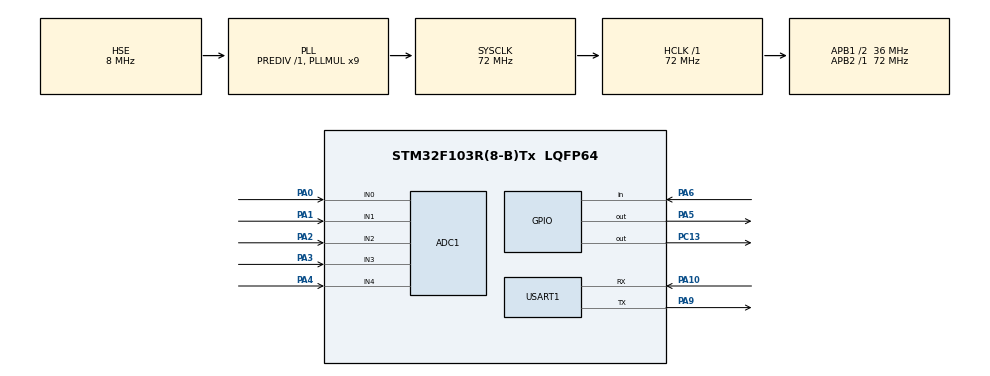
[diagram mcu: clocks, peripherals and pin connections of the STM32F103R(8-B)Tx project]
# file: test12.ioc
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ADC1.AWD1HighThreshold=1240
ADC1.AWD1ITMode=ENABLE
ADC1.Channel-0\#ChannelRegularConversion=ADC_CHANNEL_4
ADC1.ContinuousConvMode=ENABLE
ADC1.EnableAnalogWatchDog=true
ADC1.NbrOfConversion=1
ADC1.NbrOfConversionFlag=1
ADC1.Rank-0\#ChannelRegularConversion=1
ADC1.SamplingTime-0\#ChannelRegularConversion=ADC_SAMPLETIME_41CYCLES_5
ADC1.WatchdogChannel=ADC_CHANNEL_4
ADC1.master=1
Dma.ADC1.0.Direction=DMA_PERIPH_TO_MEMORY
Dma.ADC1.0.Instance=DMA1_Channel1
Dma.ADC1.0.MemDataAlignment=DMA_MDATAALIGN_HALFWORD
Dma.ADC1.0.MemInc=DMA_MINC_ENABLE
Dma.ADC1.0.Mode=DMA_CIRCULAR
Dma.ADC1.0.PeriphDataAlignment=DMA_PDATAALIGN_HALFWORD
Dma.ADC1.0.PeriphInc=DMA_PINC_DISABLE
Dma.ADC1.0.Priority=DMA_PRIORITY_HIGH
Dma.Request0=ADC1
Dma.Request1=USART1_TX
Dma.USART1_TX.1.Direction=DMA_MEMORY_TO_PERIPH
Dma.USART1_TX.1.Instance=DMA1_Channel4
Dma.USART1_TX.1.MemDataAlignment=DMA_MDATAALIGN_BYTE
Dma.USART1_TX.1.MemInc=DMA_MINC_ENABLE
Dma.USART1_TX.1.Mode=DMA_NORMAL
Dma.USART1_TX.1.PeriphDataAlignment=DMA_PDATAALIGN_BYTE
Dma.USART1_TX.1.PeriphInc=DMA_PINC_DISABLE
Dma.USART1_TX.1.Priority=DMA_PRIORITY_MEDIUM
Mcu.Family=STM32F1
Mcu.Name=STM32F103R(8-B)Tx
Mcu.Package=LQFP64
NVIC.ADC1_2_IRQn=true\:0\:0\:false\:false\:true\:true\:true
NVIC.DMA1_Channel1_IRQn=true\:0\:0\:false\:false\:true\:false\:true
NVIC.DMA1_Channel4_IRQn=true\:0\:0\:false\:false\:true\:false\:true
NVIC.PriorityGroup=NVIC_PRIORITYGROUP_4
NVIC.USART1_IRQn=true\:0\:0\:false\:false\:true\:true\:true
PA0-WKUP.Signal=ADCx_IN0
PA1.Signal=ADCx_IN1
PA10.Mode=Asynchronous
PA10.Signal=USART1_RX
PA13.Mode=Serial_Wire
PA13.Signal=SYS_JTMS-SWDIO
PA14.Mode=Serial_Wire
PA14.Signal=SYS_JTCK-SWCLK
PA2.Signal=ADCx_IN2
PA3.Signal=ADCx_IN3
PA4.Signal=ADCx_IN4
PA5.GPIO_ModeDefaultOutputPP=GPIO_MODE_OUTPUT_OD
PA5.Signal=GPIO_Output
PA6.Signal=GPIO_Input
PA9.Mode=Asynchronous
PA9.Signal=USART1_TX
PC13-TAMPER-RTC.GPIO_ModeDefaultOutputPP=GPIO_MODE_OUTPUT_OD
PC13-TAMPER-RTC.Signal=GPIO_Output
PD0-OSC_IN.Mode=HSE-External-Oscillator
PD0-OSC_IN.Signal=RCC_OSC_IN
PD1-OSC_OUT.Mode=HSE-External-Oscillator
PD1-OSC_OUT.Signal=RCC_OSC_OUT
ProjectManager.HeapSize=0x200
ProjectManager.StackSize=0x400
ProjectManager.TargetToolchain=STM32CubeIDE
RCC.ADCPresc=RCC_ADCPCLK2_DIV6
RCC.AHBFreq_Value=72000000
RCC.APB1CLKDivider=RCC_HCLK_DIV2
RCC.APB1Freq_Value=36000000
RCC.APB1TimFreq_Value=72000000
RCC.APB2Freq_Value=72000000
RCC.APB2TimFreq_Value=72000000
RCC.HCLKFreq_Value=72000000
RCC.PLLMUL=RCC_PLL_MUL9
RCC.PLLSourceVirtual=RCC_PLLSOURCE_HSE
RCC.SYSCLKFreq_VALUE=72000000
RCC.SYSCLKSource=RCC_SYSCLKSOURCE_PLLCLK
RCC.USBFreq_Value=72000000
SH.ADCx_IN0.0=ADC1_IN0,IN0
SH.ADCx_IN1.0=ADC1_IN1,IN1
SH.ADCx_IN2.0=ADC1_IN2,IN2
SH.ADCx_IN3.0=ADC1_IN3,IN3
SH.ADCx_IN4.0=ADC1_IN4,IN4
USART1.VirtualMode=VM_ASYNC
board=custom

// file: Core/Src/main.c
/* USER CODE BEGIN Header */
/**
  ******************************************************************************
  * @file           : main.c
  * @brief          : Main program body
  ******************************************************************************
  * @attention
  *
  * <h2><center>&copy; Copyright (c) 2023 STMicroelectronics.
  * All rights reserved.</center></h2>
  *
  * This software component is licensed by ST under BSD 3-Clause license,
  * the "License"; You may not use this file except in compliance with the
  * License. You may obtain a copy of the License at:
  *                        opensource.org/licenses/BSD-3-Clause
  *
  ******************************************************************************
  */
/* USER CODE END Header */
#include "main.h"

ADC_HandleTypeDef hadc1;
DMA_HandleTypeDef hdma_adc1;

UART_HandleTypeDef huart1;
DMA_HandleTypeDef hdma_usart1_rx;
DMA_HandleTypeDef hdma_usart1_tx;

/* USER CODE BEGIN PV */
uint16_t mode_cnt = 100;
uint16_t SW_cnt = 0;
uint8_t  uartCmdRx = 0;
uint8_t  uartDataRx = 0;

uint8_t status = 0;
uint8_t data_ready = 0;

ADC_inputsTypeDef adc_struct;
USART_TXTypeDef   usart_struct = {"U1 =0.00\n","U2 =0.00\n","U3 =0.00\n","U4 =0.00\n","IC =00.00\n","SW =0E0\n"};
ADC_ChannelConfTypeDef sConfig = {0, ADC_REGULAR_RANK_1, ADC_SAMPLETIME_41CYCLES_5};

uint8_t uartRXData[UART_RX_DATA_LENGTH];

/* USER CODE END PV */

void SystemClock_Config(void);
static void MX_GPIO_Init(void);
static void MX_DMA_Init(void);
static void MX_ADC1_Init(void);
static void MX_USART1_UART_Init(void);

int main(void)
{

  /* MCU Configuration--------------------------------------------------------*/

  /* Reset of all peripherals, Initializes the Flash interface and the Systick. */
  HAL_Init();

  /* Configure the system clock */
  SystemClock_Config();

  /* USER CODE BEGIN SysInit */
  SysTick_Config(SystemCoreClock/100);//10ms

  /* USER CODE END SysInit */

  /* Initialize all configured peripherals */
  MX_GPIO_Init();
  MX_DMA_Init();
  MX_ADC1_Init();
  MX_USART1_UART_Init();
  /* USER CODE BEGIN 2 */
  NVIC_EnableIRQ(USART1_IRQn);
  /* USER CODE END 2 */

  /* Infinite loop */
  /* USER CODE BEGIN WHILE */
  HAL_UART_Receive_DMA(&huart1,(uint8_t*) uartRXData, UART_RX_DATA_LENGTH);
  HAL_ADC_Start_DMA(&hadc1, (uint32_t*)adc_struct.adcData, ADC_DATA_LENGTH);

  while (1)
  {

      if(status == SC)// короткое замыкание (I>10A)
      {
    	  if(SW_cnt == 0)// прошло 10 сек
    	  {
    		  status = OK;
    		  HAL_GPIO_WritePin(SWITCH_RESET);//подключение нагрузки
 //   		  HAL_GPIO_WritePin(TEST_RESET);
    		  sConfig.Channel = 4;
    		  HAL_ADC_ConfigChannel(&hadc1, &sConfig); // смена канала АЦП на тот, что измеряет ток
    		  HAL_ADC_Start_DMA(&hadc1, (uint32_t*)adc_struct.adcData, ADC_DATA_LENGTH);
    		  while (HAL_DMA_GetState(&hdma_adc1) != HAL_DMA_STATE_READY);
    		  ADC_Struct_update (&hadc1, &sConfig, &adc_struct);
    	  }
      }

	  if (mode_cnt == 0)
	  {

		  mode_cnt = 10;//  10 = 100 мс

		  ADC_Struct_update (&hadc1, &sConfig, &adc_struct); // обновление данных по измерениям на 1 канал с послед. переключением
		  if(uartDataRx) // переполнение цикл буфера
		  {
			  uartDataRx = RESET;
			  HAL_UART_Receive_DMA(&huart1,(uint8_t*) uartRXData, UART_RX_DATA_LENGTH);
		  }

			  if (Usart_Rx_cmd_data (uartRXData,"TEST"))
			  uartCmdRx = SET; // получена команда TEST

		}

		  if(uartCmdRx && data_ready)
		  {
			  uartCmdRx = RESET;
			  Usart_Tx_data (&huart1, &adc_struct, &usart_struct);// отправит данные измерений по USART
			  data_ready = 0;
		  }

	   }

    /* USER CODE END WHILE */
   }

void SystemClock_Config(void)
{
  RCC_OscInitTypeDef RCC_OscInitStruct = {0};
  RCC_ClkInitTypeDef RCC_ClkInitStruct = {0};
  RCC_PeriphCLKInitTypeDef PeriphClkInit = {0};

  /** Initializes the RCC Oscillators according to the specified parameters
  * in the RCC_OscInitTypeDef structure.
  */
  RCC_OscInitStruct.OscillatorType = RCC_OSCILLATORTYPE_HSE;
  RCC_OscInitStruct.HSEState = RCC_HSE_ON;
  RCC_OscInitStruct.HSEPredivValue = RCC_HSE_PREDIV_DIV1;
  RCC_OscInitStruct.HSIState = RCC_HSI_ON;
  RCC_OscInitStruct.PLL.PLLState = RCC_PLL_ON;
  RCC_OscInitStruct.PLL.PLLSource = RCC_PLLSOURCE_HSE;
  RCC_OscInitStruct.PLL.PLLMUL = RCC_PLL_MUL9;
  if (HAL_RCC_OscConfig(&RCC_OscInitStruct) != HAL_OK)
  {
    Error_Handler();
  }
  /** Initializes the CPU, AHB and APB buses clocks
  */
  RCC_ClkInitStruct.ClockType = RCC_CLOCKTYPE_HCLK|RCC_CLOCKTYPE_SYSCLK
                              |RCC_CLOCKTYPE_PCLK1|RCC_CLOCKTYPE_PCLK2;
  RCC_ClkInitStruct.SYSCLKSource = RCC_SYSCLKSOURCE_PLLCLK;
  RCC_ClkInitStruct.AHBCLKDivider = RCC_SYSCLK_DIV1;
  RCC_ClkInitStruct.APB1CLKDivider = RCC_HCLK_DIV2;
  RCC_ClkInitStruct.APB2CLKDivider = RCC_HCLK_DIV1;

  if (HAL_RCC_ClockConfig(&RCC_ClkInitStruct, FLASH_LATENCY_2) != HAL_OK)
  {
    Error_Handler();
  }
  PeriphClkInit.PeriphClockSelection = RCC_PERIPHCLK_ADC;
  PeriphClkInit.AdcClockSelection = RCC_ADCPCLK2_DIV6;
  if (HAL_RCCEx_PeriphCLKConfig(&PeriphClkInit) != HAL_OK)
  {
    Error_Handler();
  }
}

static void MX_ADC1_Init(void)
{

  ADC_ChannelConfTypeDef sConfig = {0};

  /** Common config
  */
  hadc1.Instance = ADC1;
  hadc1.Init.ScanConvMode = ADC_SCAN_DISABLE;
  hadc1.Init.ContinuousConvMode = ENABLE;
  hadc1.Init.DiscontinuousConvMode = DISABLE;
  hadc1.Init.ExternalTrigConv = ADC_SOFTWARE_START;
  hadc1.Init.DataAlign = ADC_DATAALIGN_RIGHT;
  hadc1.Init.NbrOfConversion = 1;
  if (HAL_ADC_Init(&hadc1) != HAL_OK)
  {
    Error_Handler();
  }
  /** Configure Regular Channel
  */
  sConfig.Channel = ADC_CHANNEL_0;
  sConfig.Rank = ADC_REGULAR_RANK_1;
  sConfig.SamplingTime = ADC_SAMPLETIME_41CYCLES_5;
  if (HAL_ADC_ConfigChannel(&hadc1, &sConfig) != HAL_OK)
  {
    Error_Handler();
  }

}

static void MX_USART1_UART_Init(void)
{

  huart1.Instance = USART1;
  huart1.Init.BaudRate = 115200;
  huart1.Init.WordLength = UART_WORDLENGTH_8B;
  huart1.Init.StopBits = UART_STOPBITS_1;
  huart1.Init.Parity = UART_PARITY_NONE;
  huart1.Init.Mode = UART_MODE_TX_RX;
  huart1.Init.HwFlowCtl = UART_HWCONTROL_NONE;
  huart1.Init.OverSampling = UART_OVERSAMPLING_16;
  if (HAL_UART_Init(&huart1) != HAL_OK)
  {
    Error_Handler();
  }

}

static void MX_DMA_Init(void)
{

  /* DMA controller clock enable */
  __HAL_RCC_DMA1_CLK_ENABLE();

  /* DMA interrupt init */
  /* DMA1_Channel1_IRQn interrupt configuration */
  HAL_NVIC_SetPriority(DMA1_Channel1_IRQn, 0, 0);
  HAL_NVIC_EnableIRQ(DMA1_Channel1_IRQn);
  /* DMA1_Channel4_IRQn interrupt configuration */
  HAL_NVIC_SetPriority(DMA1_Channel4_IRQn, 0, 0);
  HAL_NVIC_EnableIRQ(DMA1_Channel4_IRQn);
  /* DMA1_Channel5_IRQn interrupt configuration */
  HAL_NVIC_SetPriority(DMA1_Channel5_IRQn, 0, 0);
  HAL_NVIC_EnableIRQ(DMA1_Channel5_IRQn);

}

static void MX_GPIO_Init(void)
{
  GPIO_InitTypeDef GPIO_InitStruct = {0};

  /* GPIO Ports Clock Enable */
  __HAL_RCC_GPIOD_CLK_ENABLE();
  __HAL_RCC_GPIOA_CLK_ENABLE();
  __HAL_RCC_GPIOC_CLK_ENABLE();
  /*Configure GPIO pin Output Level */
  HAL_GPIO_WritePin(GPIOA, GPIO_PIN_5, GPIO_PIN_RESET);

  /*Configure GPIO pin : PA5 */
  GPIO_InitStruct.Pin = GPIO_PIN_5;
  GPIO_InitStruct.Mode = GPIO_MODE_OUTPUT_OD;
  GPIO_InitStruct.Pull = GPIO_NOPULL;
  GPIO_InitStruct.Speed = GPIO_SPEED_FREQ_LOW;
  HAL_GPIO_Init(GPIOA, &GPIO_InitStruct);

  /*Configure GPIO pin : PA6 */
  GPIO_InitStruct.Pin = GPIO_PIN_6;
  GPIO_InitStruct.Mode = GPIO_MODE_INPUT;
  GPIO_InitStruct.Pull = GPIO_NOPULL;
  HAL_GPIO_Init(GPIOA, &GPIO_InitStruct);

  GPIO_InitStruct.Pin = GPIO_PIN_13;
  GPIO_InitStruct.Mode = GPIO_MODE_OUTPUT_OD;
  GPIO_InitStruct.Speed = GPIO_SPEED_FREQ_LOW;
  GPIO_InitStruct.Pull = GPIO_NOPULL;
  HAL_GPIO_Init(GPIOC, &GPIO_InitStruct);

}

/* USER CODE BEGIN 4 */
void HAL_ADC_ConvCpltCallback(ADC_HandleTypeDef* hadc)
{
	if(hadc->Instance == ADC1)
	  {
	   // adc_struct.chadc = 1;
	    HAL_ADC_Stop_DMA(&hadc1);
	    ADC_ConversionStop_Disable(&hadc1);
	  }
}

void HAL_UART_RxCpltCallback(UART_HandleTypeDef* huart)
{
	if(huart->Instance == USART1)
	  {
	    uartDataRx = SET;
	  }
}

void HAL_UART_TxCpltCallback(UART_HandleTypeDef *huart)
{
	if(huart->Instance == USART1)
		  {

		  }
}

/* USER CODE END 4 */

void Error_Handler(void)
{
  __disable_irq();
}

/************************ (C) COPYRIGHT STMicroelectronics *****END OF FILE****/
